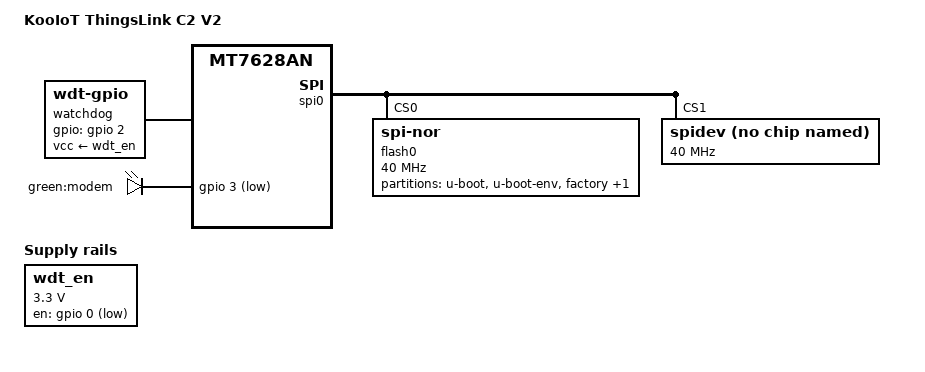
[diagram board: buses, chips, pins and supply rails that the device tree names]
#include "mt7628an_kooiot_tlink-c2.dtsi"

/ {
	compatible = "kooiot,tlink-c2-v2", "kooiot,tlink-c2", "mediatek,mt7628an-soc";
	model = "KooIoT ThingsLink C2 V2";

	watchdog {
		compatible = "linux,wdt-gpio";
		vcc-supply=<&wdt_en>;
		gpios = <&gpio 2 GPIO_ACTIVE_HIGH>;
		hw_algo = "toggle";
		hw_margin_ms = <200>;
		always-running;
	};

	/* watchdog enable pin */
	wdt_en: fixedregulator@0 {
		compatible = "regulator-fixed";
		regulator-always-on;
		regulator-boot-on;
		regulator-name = "wdt_en";
		regulator-min-microvolt = <3300000>;
		regulator-max-microvolt = <3300000>;
		gpio = <&gpio 0 GPIO_ACTIVE_LOW>; /* I2S_SDI/GPIO#0 */
		startup-delay-us=<3000000>; // 3 seconds
	};
};

&leds {
	modem {
		label = "green:modem";
		gpios = <&gpio 3 GPIO_ACTIVE_LOW>;
	};
};

&state_default {
	i2s {
		groups = "i2s";
		function = "gpio";
	};
};

&spi0 {
	status = "okay";

	pinctrl-names = "default";
	pinctrl-0 = <&spi_pins>, <&spi_cs1_pins>;

	flash0: flash@0 {
		compatible = "jedec,spi-nor";
		reg = <0>;
		spi-max-frequency = <40000000>;
		// broken-flash-reset;

		partitions {
			compatible = "fixed-partitions";
			#address-cells = <1>;
			#size-cells = <1>;

			partition@0 {
				label = "u-boot";
				reg = <0x0 0x30000>;
				read-only;
			};

			partition@30000 {
				label = "u-boot-env";
				reg = <0x30000 0x10000>;
			};

			factory: partition@40000 {
				label = "factory";
				reg = <0x40000 0x10000>;
				read-only;
			};

			partition@50000 {
				compatible = "denx,uimage";
				label = "firmware";
				reg = <0x50000 0x1fb0000>;
			};
		};
	};

	spidev@1 {
		#address-cells = <1>;
		#size-cells = <1>;
		compatible = "linux,spidev";
		reg = <1>;
		spi-max-frequency = <40000000>;
	};
};
